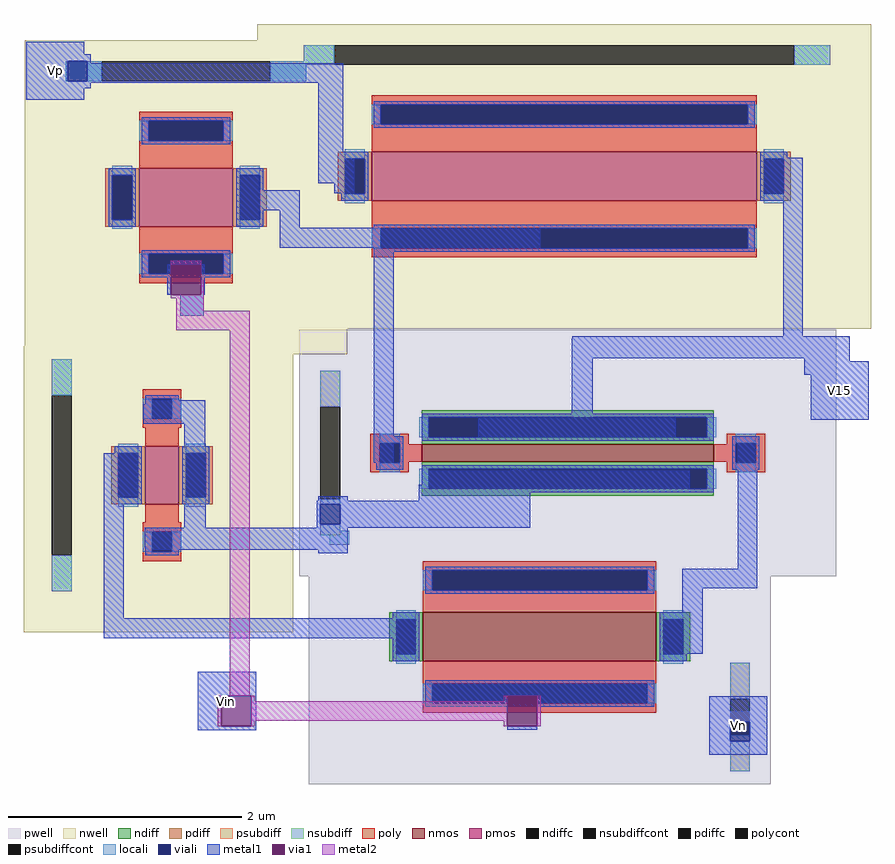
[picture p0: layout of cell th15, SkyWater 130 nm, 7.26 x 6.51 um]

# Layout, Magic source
magic
tech sky130A
magscale 1 2
<< nwell >>
rect 532 -558 570 -68
<< pwell >>
rect 1472 -222 1506 -162
<< nsubdiff >>
rect 609 386 663 420
<< locali >>
rect 641 386 666 420
rect 1742 -711 1776 -693
<< viali >>
rect 607 386 641 420
rect 1040 -373 1074 -339
rect 1742 -745 1776 -711
<< metal1 >>
rect 536 432 636 454
rect 536 420 647 432
rect 536 386 607 420
rect 641 417 647 420
rect 641 386 1079 417
rect 536 383 1079 386
rect 536 374 647 383
rect 536 354 636 374
rect 1037 254 1079 383
rect 901 199 935 223
rect 1037 211 1098 254
rect 901 165 1005 199
rect 1064 194 1098 211
rect 1799 193 1867 255
rect 901 139 935 165
rect 971 135 1005 165
rect 971 101 1417 135
rect 778 20 784 72
rect 836 20 842 72
rect 800 -16 840 20
rect 753 -163 843 -161
rect 745 -167 843 -163
rect 737 -201 843 -167
rect 669 -325 727 -251
rect 807 -296 843 -201
rect 1132 -268 1166 101
rect 1833 -51 1867 193
rect 1472 -55 1947 -51
rect 1471 -89 1947 -55
rect 1471 -191 1507 -89
rect 1869 -94 1947 -89
rect 1869 -117 1980 -94
rect 1311 -225 1649 -191
rect 1880 -194 1980 -117
rect 1366 -281 1400 -276
rect 669 -534 703 -325
rect 807 -379 844 -296
rect 1225 -305 1673 -281
rect 1209 -315 1673 -305
rect 1037 -333 1087 -325
rect 1209 -333 1400 -315
rect 1034 -339 1400 -333
rect 1034 -373 1040 -339
rect 1074 -373 1400 -339
rect 1034 -379 1400 -373
rect 739 -413 1087 -379
rect 751 -417 1087 -413
rect 1037 -423 1087 -417
rect 1755 -449 1789 -229
rect 1660 -483 1789 -449
rect 1660 -531 1695 -483
rect 669 -568 1205 -534
rect 1171 -597 1205 -568
rect 1627 -595 1695 -531
rect 830 -667 930 -626
rect 830 -719 870 -667
rect 922 -719 930 -667
rect 1232 -667 1600 -646
rect 1232 -680 1360 -667
rect 830 -726 930 -719
rect 1412 -680 1600 -667
rect 1360 -725 1412 -719
rect 1706 -711 1806 -668
rect 1706 -745 1742 -711
rect 1776 -745 1806 -711
rect 1706 -768 1806 -745
<< via1 >>
rect 784 20 836 72
rect 870 -719 922 -667
rect 1360 -719 1412 -667
<< metal2 >>
rect 784 72 836 78
rect 836 20 840 46
rect 784 14 840 20
rect 793 -7 840 14
rect 793 -41 919 -7
rect 885 -667 919 -41
rect 864 -719 870 -667
rect 922 -676 928 -667
rect 1354 -676 1360 -667
rect 922 -710 1360 -676
rect 922 -719 928 -710
rect 1354 -719 1360 -710
rect 1412 -719 1418 -667
use sky130_fd_pr__pfet_01v8_LDQF7K  XM0
transform 1 0 769 0 1 -289
box -225 -269 225 269
use sky130_fd_pr__nfet_01v8_HZA4VB  XM1
transform 1 0 1416 0 1 -566
box -396 -206 396 252
use sky130_fd_pr__pfet_01v8_TM5S5A  XM2
transform 1 0 810 0 1 187
box -276 -269 276 269
use sky130_fd_pr__pfet_01v8_KQKFM4  XM3
transform 1 0 1458 0 1 223
box -526 -261 526 261
use sky130_fd_pr__nfet_01v8_KQFF5S  XM4
transform 0 -1 1464 1 0 -251
box -211 -460 155 444
<< labels >>
flabel metal1 536 354 636 454 0 FreeSans 256 0 0 0 Vp
port 0 nsew
flabel metal1 1880 -194 1980 -94 0 FreeSans 256 0 0 0 V15
port 1 nsew
flabel metal1 830 -726 930 -626 0 FreeSans 256 0 0 0 Vin
port 2 nsew
flabel metal1 1706 -768 1806 -668 0 FreeSans 256 0 0 0 Vn
port 3 nsew
<< end >>

# cell sky130_fd_pr__pfet_01v8_LDQF7K: kit device sky130_fd_pr__pfet_01v8, w 0.5 l 0.285 m 1 nf 1 diffcov 100 polycov 100 guard 1 glc 1 grc 1 gtc 1 gbc 1 tbcov 100 rlcov 100 topc 1 botc 1 poverlap 0 doverlap 1 lmin 0.15 wmin 0.42 compatible {sky130_fd_pr__pfet_01v8 sky130_fd_pr__pfet_01v8_lvt sky130_fd_pr__pfet_01v8_hvt sky130_fd_pr__pfet_g5v0d10v5} full_metal 1 viasrc 100 viadrn 100 viagate 100 viagb 0 viagr 0 viagl 0 viagt 0

# cell sky130_fd_pr__nfet_01v8_HZA4VB: kit device sky130_fd_pr__nfet_01v8, w 0.42 l 2.0 m 1 nf 1 diffcov 100 polycov 100 guard 1 glc 1 grc 1 gtc 1 gbc 1 tbcov 100 rlcov 100 topc 1 botc 1 poverlap 0 doverlap 1 lmin 0.15 wmin 0.42 compatible {sky130_fd_pr__nfet_01v8 sky130_fd_pr__nfet_01v8_lvt sky130_fd_bs_flash__special_sonosfet_star sky130_fd_pr__nfet_g5v0d10v5 sky130_fd_pr__nfet_05v0_nvt sky130_fd_pr__nfet_03v3_nvt} full_metal 1 viasrc 100 viadrn 100 viagate 100 viagb 0 viagr 0 viagl 0 viagt 0

# cell sky130_fd_pr__pfet_01v8_TM5S5A: kit device sky130_fd_pr__pfet_01v8, w 0.5 l 0.8 m 1 nf 1 diffcov 100 polycov 100 guard 1 glc 1 grc 1 gtc 1 gbc 1 tbcov 100 rlcov 100 topc 1 botc 1 poverlap 0 doverlap 1 lmin 0.15 wmin 0.42 compatible {sky130_fd_pr__pfet_01v8 sky130_fd_pr__pfet_01v8_lvt sky130_fd_pr__pfet_01v8_hvt sky130_fd_pr__pfet_g5v0d10v5} full_metal 1 viasrc 100 viadrn 100 viagate 100 viagb 0 viagr 0 viagl 0 viagt 0

# cell sky130_fd_pr__pfet_01v8_KQKFM4: kit device sky130_fd_pr__pfet_01v8, w 0.421 l 3.3 m 1 nf 1 diffcov 100 polycov 100 guard 1 glc 1 grc 1 gtc 1 gbc 1 tbcov 100 rlcov 100 topc 1 botc 1 poverlap 0 doverlap 1 lmin 0.15 wmin 0.42 compatible {sky130_fd_pr__pfet_01v8 sky130_fd_pr__pfet_01v8_lvt sky130_fd_pr__pfet_01v8_hvt sky130_fd_pr__pfet_g5v0d10v5} full_metal 1 viasrc 100 viadrn 100 viagate 100 viagb 0 viagr 0 viagl 0 viagt 0

# cell sky130_fd_pr__nfet_01v8_KQFF5S: kit device sky130_fd_pr__nfet_01v8, w 2.501 l 0.15 m 1 nf 1 diffcov 100 polycov 100 guard 1 glc 1 grc 1 gtc 1 gbc 1 tbcov 100 rlcov 100 topc 1 botc 1 poverlap 0 doverlap 1 lmin 0.15 wmin 0.42 compatible {sky130_fd_pr__nfet_01v8 sky130_fd_pr__nfet_01v8_lvt sky130_fd_bs_flash__special_sonosfet_star sky130_fd_pr__nfet_g5v0d10v5 sky130_fd_pr__nfet_05v0_nvt sky130_fd_pr__nfet_03v3_nvt} full_metal 1 viasrc 100 viadrn 100 viagate 100 viagb 0 viagr 0 viagl 0 viagt 0
